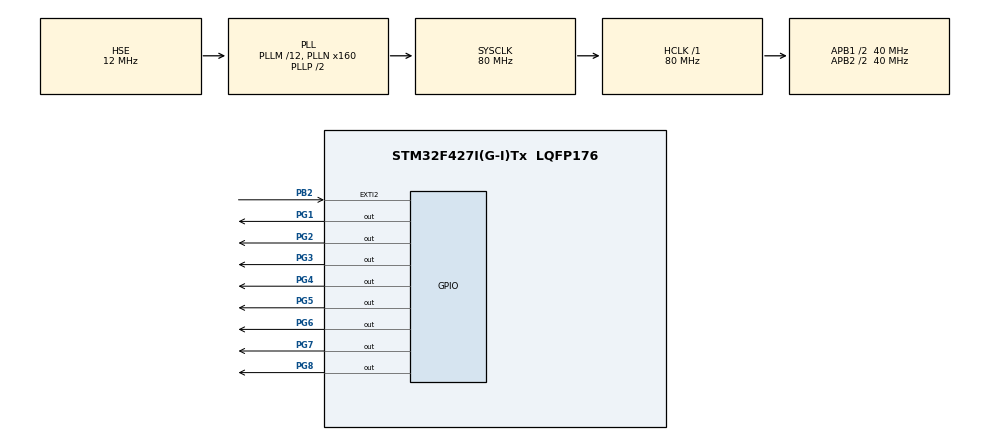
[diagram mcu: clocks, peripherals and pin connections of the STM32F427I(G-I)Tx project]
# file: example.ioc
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Mcu.Family=STM32F4
Mcu.Name=STM32F427I(G-I)Tx
Mcu.Package=LQFP176
NVIC.EXTI2_IRQn=true\:1\:0\:true\:false\:true\:true\:true
NVIC.PriorityGroup=NVIC_PRIORITYGROUP_4
PB2/BOOT1.Signal=GPXTI2
PG1.Signal=GPIO_Output
PG2.Signal=GPIO_Output
PG3.Signal=GPIO_Output
PG4.Signal=GPIO_Output
PG5.Signal=GPIO_Output
PG6.Signal=GPIO_Output
PG7.Signal=GPIO_Output
PG8.Signal=GPIO_Output
PH0/OSC_IN.Mode=HSE-External-Oscillator
PH0/OSC_IN.Signal=RCC_OSC_IN
PH1/OSC_OUT.Mode=HSE-External-Oscillator
PH1/OSC_OUT.Signal=RCC_OSC_OUT
ProjectManager.HeapSize=0x200
ProjectManager.StackSize=0x400
ProjectManager.TargetToolchain=MDK-ARM V5
RCC.48MHZClocksFreq_Value=40000000
RCC.AHBFreq_Value=80000000
RCC.APB1CLKDivider=RCC_HCLK_DIV2
RCC.APB1Freq_Value=40000000
RCC.APB1TimFreq_Value=80000000
RCC.APB2CLKDivider=RCC_HCLK_DIV2
RCC.APB2Freq_Value=40000000
RCC.APB2TimFreq_Value=80000000
RCC.CortexFreq_Value=80000000
RCC.HCLKFreq_Value=80000000
RCC.HSE_VALUE=12000000
RCC.HSI_VALUE=16000000
RCC.LSE_VALUE=32768
RCC.PLLM=12
RCC.PLLN=160
RCC.PLLSourceVirtual=RCC_PLLSOURCE_HSE
RCC.SYSCLKFreq_VALUE=80000000
RCC.SYSCLKSource=RCC_SYSCLKSOURCE_PLLCLK
RCC.VCOOutputFreq_Value=160000000
TIM7.Period=65535
TIM7.Prescaler=1
VP_TIM7_VS_ClockSourceINT.Mode=Enable_Timer
board=custom

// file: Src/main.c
/* USER CODE BEGIN Header */
/**
  ******************************************************************************
  * @file           : main.c
  * @brief          : Main program body
  ******************************************************************************
  * @attention
  *
  * <h2><center>&copy; Copyright (c) 2019 STMicroelectronics.
  * All rights reserved.</center></h2>
  *
  * This software component is licensed by ST under BSD 3-Clause license,
  * the "License"; You may not use this file except in compliance with the
  * License. You may obtain a copy of the License at:
  *                        opensource.org/licenses/BSD-3-Clause
  *
  ******************************************************************************
  */
/* USER CODE END Header */

#include "main.h"
#include "tim.h"
#include "gpio.h"

void SystemClock_Config(void);
/* USER CODE BEGIN PFP */
void tim_delay_us(uint16_t us);
/* USER CODE END PFP */

int main(void)
{

  /* MCU Configuration--------------------------------------------------------*/

  /* Reset of all peripherals, Initializes the Flash interface and the Systick. */
  HAL_Init();

  /* Configure the system clock */
  SystemClock_Config();

  /* Initialize all configured peripherals */
  MX_GPIO_Init();
  MX_TIM7_Init();
  /* USER CODE BEGIN 2 */
	HAL_TIM_Base_Start(&htim7);

  /* USER CODE END 2 */

  /* Infinite loop */
  while (1)
  {

    /* USER CODE BEGIN 3 */

					HAL_GPIO_WritePin(GPIOG, GPIO_PIN_1, GPIO_PIN_RESET);
					HAL_Delay(50);
					HAL_GPIO_WritePin(GPIOG, GPIO_PIN_2, GPIO_PIN_RESET);
					HAL_Delay(50);
					HAL_GPIO_WritePin(GPIOG, GPIO_PIN_3, GPIO_PIN_RESET);
					HAL_Delay(50);
					HAL_GPIO_WritePin(GPIOG, GPIO_PIN_4, GPIO_PIN_RESET);
					HAL_Delay(50);
					HAL_GPIO_WritePin(GPIOG, GPIO_PIN_5, GPIO_PIN_RESET);
					HAL_Delay(50);
					HAL_GPIO_WritePin(GPIOG, GPIO_PIN_6, GPIO_PIN_RESET);
					HAL_Delay(50);
					HAL_GPIO_WritePin(GPIOG, GPIO_PIN_7, GPIO_PIN_RESET);
					HAL_Delay(50);
					HAL_GPIO_WritePin(GPIOG, GPIO_PIN_8, GPIO_PIN_RESET);
					HAL_Delay(50);
					HAL_GPIO_TogglePin(GPIOG, GPIO_PIN_1);
					HAL_Delay(50);
					HAL_GPIO_TogglePin(GPIOG, GPIO_PIN_2);
					HAL_Delay(50);
					HAL_GPIO_TogglePin(GPIOG, GPIO_PIN_3);
					HAL_Delay(50);
					HAL_GPIO_TogglePin(GPIOG, GPIO_PIN_4);
					HAL_Delay(50);
					HAL_GPIO_TogglePin(GPIOG, GPIO_PIN_5);
					HAL_Delay(50);
					HAL_GPIO_TogglePin(GPIOG, GPIO_PIN_6);
					HAL_Delay(50);
					HAL_GPIO_TogglePin(GPIOG, GPIO_PIN_7);
					HAL_Delay(50);
					HAL_GPIO_TogglePin(GPIOG, GPIO_PIN_8);
					HAL_Delay(50);

  }
  /* USER CODE END 3 */
}

void SystemClock_Config(void)
{
  RCC_OscInitTypeDef RCC_OscInitStruct = {0};
  RCC_ClkInitTypeDef RCC_ClkInitStruct = {0};

  /** Configure the main internal regulator output voltage
  */
  __HAL_RCC_PWR_CLK_ENABLE();
  __HAL_PWR_VOLTAGESCALING_CONFIG(PWR_REGULATOR_VOLTAGE_SCALE3);
  /** Initializes the CPU, AHB and APB busses clocks
  */
  RCC_OscInitStruct.OscillatorType = RCC_OSCILLATORTYPE_HSE;
  RCC_OscInitStruct.HSEState = RCC_HSE_ON;
  RCC_OscInitStruct.PLL.PLLState = RCC_PLL_ON;
  RCC_OscInitStruct.PLL.PLLSource = RCC_PLLSOURCE_HSE;
  RCC_OscInitStruct.PLL.PLLM = 12;
  RCC_OscInitStruct.PLL.PLLN = 160;
  RCC_OscInitStruct.PLL.PLLP = RCC_PLLP_DIV2;
  RCC_OscInitStruct.PLL.PLLQ = 4;
  if (HAL_RCC_OscConfig(&RCC_OscInitStruct) != HAL_OK)
  {
    Error_Handler();
  }
  /** Initializes the CPU, AHB and APB busses clocks
  */
  RCC_ClkInitStruct.ClockType = RCC_CLOCKTYPE_HCLK|RCC_CLOCKTYPE_SYSCLK
                              |RCC_CLOCKTYPE_PCLK1|RCC_CLOCKTYPE_PCLK2;
  RCC_ClkInitStruct.SYSCLKSource = RCC_SYSCLKSOURCE_PLLCLK;
  RCC_ClkInitStruct.AHBCLKDivider = RCC_SYSCLK_DIV1;
  RCC_ClkInitStruct.APB1CLKDivider = RCC_HCLK_DIV2;
  RCC_ClkInitStruct.APB2CLKDivider = RCC_HCLK_DIV2;

  if (HAL_RCC_ClockConfig(&RCC_ClkInitStruct, FLASH_LATENCY_2) != HAL_OK)
  {
    Error_Handler();
  }
}

/* USER CODE BEGIN 4 */
void tim_delay_us(uint16_t us)
{
//	HAL_TIM_Base_Start_IT(&htim7);
	__HAL_TIM_SetCounter(&htim7,5);
	while(__HAL_TIM_GetCounter(&htim7) < 40*us+5);
//	HAL_TIM_Base_Stop_IT(&htim7);
}
 void HAL_GPIO_EXTI_Callback(uint16_t GPIO_Pin)
{
	uint8_t i=0;
  switch(GPIO_Pin)
		{
			case GPIO_PIN_2 :

				for(;i<3;i++)
				{
							HAL_GPIO_WritePin(GPIOG, GPIO_PIN_1|GPIO_PIN_2|GPIO_PIN_3|GPIO_PIN_4|GPIO_PIN_5|GPIO_PIN_6|GPIO_PIN_7|GPIO_PIN_8,GPIO_PIN_RESET);
							HAL_Delay(500);
							HAL_GPIO_TogglePin(GPIOG, GPIO_PIN_1|GPIO_PIN_2|GPIO_PIN_3|GPIO_PIN_4|GPIO_PIN_5|GPIO_PIN_6|GPIO_PIN_7|GPIO_PIN_8);
							HAL_Delay(500);
				}
			break;
		}
}
/* USER CODE END 4 */

void Error_Handler(void)
{
}

/************************ (C) COPYRIGHT STMicroelectronics *****END OF FILE****/
